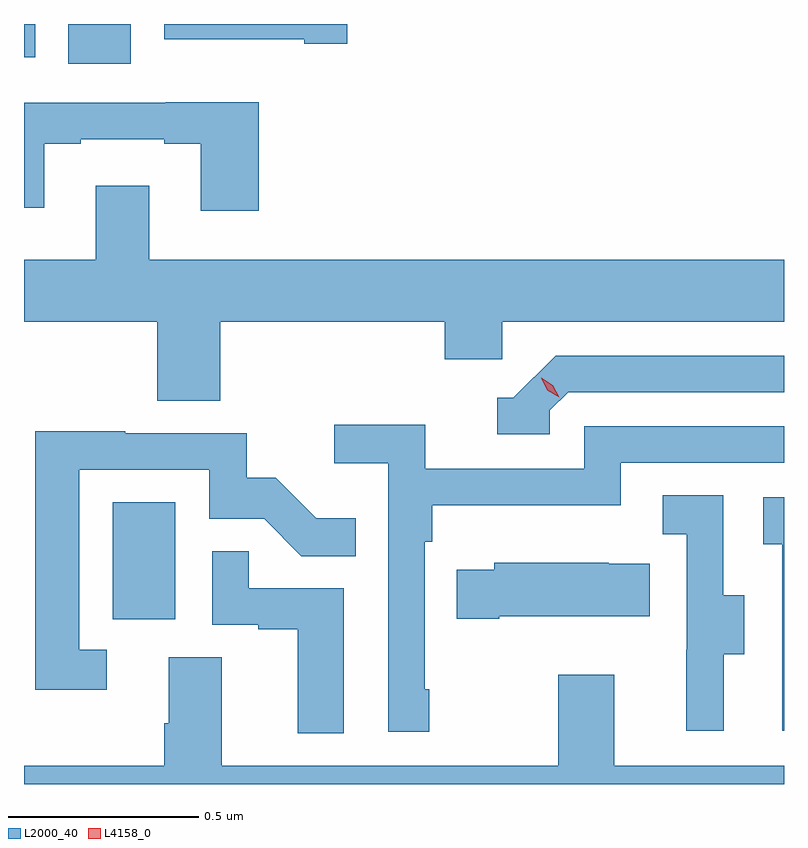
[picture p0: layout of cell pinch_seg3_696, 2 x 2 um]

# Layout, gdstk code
import gdstk
lib = gdstk.Library(unit=1e-6, precision=1e-09)
def R(c, l, rs):  # rectangles x0, y0, x1, y1
    for r in rs: c.add(gdstk.rectangle(r[:2], r[2:], *l))
def P(c, l, *ps):  # polygons
    for p in ps: c.add(gdstk.Polygon(p, *l))
L2000_40 = (2000, 40)
L4158_0 = (4158, 0)

pinch_seg3_696 = lib.new_cell('pinch_seg3_696')
R(pinch_seg3_696, L2000_40, [(1129.91,670.83,1130.074,671.137), (1129.793,672.291,1129.957,672.396), (1129.676,672.308,1129.705,672.396)])
P(pinch_seg3_696, L2000_40, [(1130.527,672.396),(1130.045,672.396),(1130.045,672.356),(1130.414,672.356),(1130.414,672.344),(1130.527,672.344)],
  [(1130.294,672.19),(1130.049,672.19),(1130.049,672.189),(1129.676,672.189),(1129.676,671.912),(1129.729,671.912),(1129.729,672.081),(1129.825,672.081),(1129.825,672.093),(1130.045,672.093),(1130.045,672.081),(1130.141,672.081),(1130.141,671.904),(1130.294,671.904)],
  [(1130.192,671.612),(1130.783,671.612),(1130.783,671.514),(1130.934,671.514),(1130.934,671.612),(1131.676,671.612),(1131.676,671.776),(1130.005,671.776),(1130.005,671.971),(1129.865,671.971),(1129.865,671.776),(1129.676,671.776),(1129.676,671.612),(1130.027,671.612),(1130.027,671.404),(1130.192,671.404)],
  [(1131.06,671.379),(1131.108,671.427),(1131.676,671.427),(1131.676,671.523),(1131.075,671.523),(1130.964,671.412),(1130.921,671.412),(1130.921,671.316),(1131.06,671.316)],
  [(1130.743,670.645),(1130.73,670.645),(1130.73,671.033),(1130.75,671.033),(1130.75,671.129),(1131.246,671.129),(1131.246,671.241),(1131.676,671.241),(1131.676,671.337),(1131.15,671.337),(1131.15,671.226),(1130.732,671.226),(1130.732,671.342),(1130.493,671.342),(1130.493,671.24),(1130.634,671.24),(1130.634,670.533),(1130.743,670.533)],
  [(1129.894,670.749),(1129.821,670.749),(1129.821,671.223),(1130.163,671.223),(1130.163,671.094),(1130.308,671.094),(1130.406,670.996),(1130.549,670.996),(1130.549,671.095),(1130.445,671.095),(1130.338,671.202),(1130.262,671.202),(1130.262,671.319),(1129.943,671.319),(1129.943,671.324),(1129.705,671.324),(1129.705,670.644),(1129.894,670.644)],
  [(1131.517,670.738),(1131.571,670.738),(1131.571,670.893),(1131.516,670.893),(1131.516,671.156),(1131.357,671.156),(1131.357,671.053),(1131.42,671.053),(1131.42,670.749),(1131.419,670.749),(1131.419,670.536),(1131.517,670.536)],
  [(1131.676,671.151),(1131.621,671.151),(1131.621,671.027),(1131.672,671.027),(1131.672,670.536),(1131.676,670.536)],
  [(1130.518,670.911),(1130.267,670.911),(1130.267,671.009),(1130.172,671.009),(1130.172,670.815),(1130.293,670.815),(1130.293,670.803),(1130.396,670.803),(1130.396,670.529),(1130.518,670.529)],
  [(1130.926,670.838),(1131.323,670.838),(1131.323,670.975),(1131.215,670.975),(1131.215,670.978),(1130.913,670.978),(1130.913,670.96),(1130.815,670.96),(1130.815,670.831),(1130.926,670.831)],
  [(1131.676,670.444),(1131.229,670.444),(1131.229,670.684),(1131.082,670.684),(1131.082,670.444),(1130.197,670.444),(1130.197,670.73),(1130.057,670.73),(1130.057,670.556),(1130.045,670.556),(1130.045,670.444),(1129.676,670.444),(1129.676,670.396),(1131.676,670.396)])
P(pinch_seg3_696, L4158_0, [(1131.084,671.414),(1131.053,671.432),(1131.037,671.465),(1131.037,671.465),(1131.037,671.465),(1131.068,671.446),(1131.085,671.414),(1131.085,671.414)])

lib.write_gds('pinch_seg3_696.gds')
